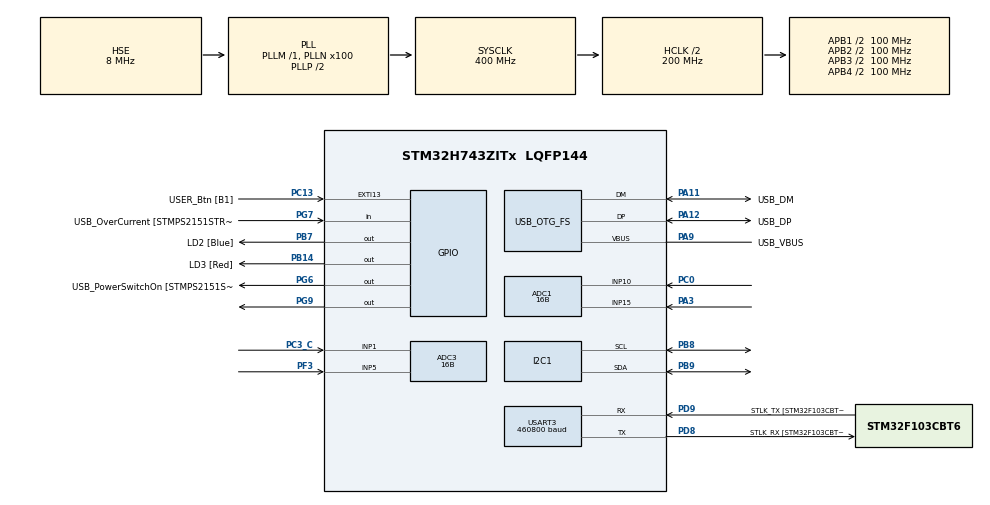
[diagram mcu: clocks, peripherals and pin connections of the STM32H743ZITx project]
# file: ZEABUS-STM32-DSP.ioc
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ADC1.BoostMode=DISABLE
ADC1.Channel-0\#ChannelRegularConversion=ADC_CHANNEL_15
ADC1.Channel-1\#ChannelRegularConversion=ADC_CHANNEL_10
ADC1.ClockPrescaler=ADC_CLOCK_ASYNC_DIV4
ADC1.ContinuousConvMode=DISABLE
ADC1.ConversionDataManagement=ADC_CONVERSIONDATA_DMA_CIRCULAR
ADC1.DMAContinuousRequests=ENABLE
ADC1.DiscontinuousConvMode=ENABLE
ADC1.EOCSelection=ADC_EOC_SEQ_CONV
ADC1.EnableAnalogWatchDog1=false
ADC1.EnableAnalogWatchDog2=false
ADC1.EnableAnalogWatchDog3=false
ADC1.EnableInjectedConversion=DISABLE
ADC1.EnableRegularConversion=ENABLE
ADC1.ExternalTrigConv=ADC_EXTERNALTRIG_T2_TRGO
ADC1.ExternalTrigConvEdge=ADC_EXTERNALTRIGCONVEDGE_RISING
ADC1.LeftBitShift=ADC_LEFTBITSHIFT_NONE
ADC1.LowPowerAutoWait=DISABLE
ADC1.NbrOfConversion=2
ADC1.NbrOfConversionFlag=1
ADC1.OffsetNumber-0\#ChannelRegularConversion=ADC_OFFSET_NONE
ADC1.OffsetNumber-1\#ChannelRegularConversion=ADC_OFFSET_NONE
ADC1.Overrun=ADC_OVR_DATA_PRESERVED
ADC1.OversamplingMode=DISABLE
ADC1.Rank-0\#ChannelRegularConversion=1
ADC1.Rank-1\#ChannelRegularConversion=2
ADC1.Resolution=ADC_RESOLUTION_16B
ADC1.SamplingTime-0\#ChannelRegularConversion=ADC_SAMPLETIME_16CYCLES_5
ADC1.SamplingTime-1\#ChannelRegularConversion=ADC_SAMPLETIME_16CYCLES_5
ADC1.ScanConvMode=ADC_SCAN_ENABLE
ADC1.master=1
ADC3.BoostMode=DISABLE
ADC3.Channel-0\#ChannelRegularConversion=ADC_CHANNEL_1
ADC3.Channel-1\#ChannelRegularConversion=ADC_CHANNEL_5
ADC3.ClockPrescaler=ADC_CLOCK_ASYNC_DIV4
ADC3.ContinuousConvMode=DISABLE
ADC3.ConversionDataManagement=ADC_CONVERSIONDATA_DMA_CIRCULAR
ADC3.DMAContinuousRequests=ENABLE
ADC3.DiscontinuousConvMode=ENABLE
ADC3.EOCSelection=ADC_EOC_SEQ_CONV
ADC3.EnableAnalogWatchDog1=false
ADC3.EnableAnalogWatchDog2=false
ADC3.EnableAnalogWatchDog3=false
ADC3.EnableInjectedConversion=DISABLE
ADC3.EnableRegularConversion=ENABLE
ADC3.ExternalTrigConv=ADC_EXTERNALTRIG_T2_TRGO
ADC3.ExternalTrigConvEdge=ADC_EXTERNALTRIGCONVEDGE_RISING
ADC3.LeftBitShift=ADC_LEFTBITSHIFT_NONE
ADC3.LowPowerAutoWait=DISABLE
ADC3.NbrOfConversion=2
ADC3.NbrOfConversionFlag=1
ADC3.NbrOfDiscConversion=1
ADC3.OffsetNumber-0\#ChannelRegularConversion=ADC_OFFSET_NONE
ADC3.OffsetNumber-1\#ChannelRegularConversion=ADC_OFFSET_NONE
ADC3.Overrun=ADC_OVR_DATA_PRESERVED
ADC3.OversamplingMode=DISABLE
ADC3.Rank-0\#ChannelRegularConversion=1
ADC3.Rank-1\#ChannelRegularConversion=2
ADC3.Resolution=ADC_RESOLUTION_16B
ADC3.SamplingTime-0\#ChannelRegularConversion=ADC_SAMPLETIME_16CYCLES_5
ADC3.SamplingTime-1\#ChannelRegularConversion=ADC_SAMPLETIME_16CYCLES_5
ADC3.ScanConvMode=ADC_SCAN_ENABLE
Dma.ADC1.1.Direction=DMA_PERIPH_TO_MEMORY
Dma.ADC1.1.EventEnable=DISABLE
Dma.ADC1.1.FIFOMode=DMA_FIFOMODE_DISABLE
Dma.ADC1.1.Instance=DMA1_Stream0
Dma.ADC1.1.MemDataAlignment=DMA_MDATAALIGN_WORD
Dma.ADC1.1.MemInc=DMA_MINC_ENABLE
Dma.ADC1.1.Mode=DMA_CIRCULAR
Dma.ADC1.1.PeriphDataAlignment=DMA_PDATAALIGN_WORD
Dma.ADC1.1.PeriphInc=DMA_PINC_DISABLE
Dma.ADC1.1.Polarity=HAL_DMAMUX_REQ_GEN_RISING
Dma.ADC1.1.Priority=DMA_PRIORITY_HIGH
Dma.ADC1.1.RequestNumber=1
Dma.ADC1.1.SyncEnable=DISABLE
Dma.ADC1.1.SyncPolarity=HAL_DMAMUX_SYNC_NO_EVENT
Dma.ADC1.1.SyncRequestNumber=1
Dma.ADC3.0.Direction=DMA_PERIPH_TO_MEMORY
Dma.ADC3.0.EventEnable=DISABLE
Dma.ADC3.0.FIFOMode=DMA_FIFOMODE_DISABLE
Dma.ADC3.0.Instance=DMA2_Stream0
Dma.ADC3.0.MemDataAlignment=DMA_MDATAALIGN_WORD
Dma.ADC3.0.MemInc=DMA_MINC_ENABLE
Dma.ADC3.0.Mode=DMA_CIRCULAR
Dma.ADC3.0.PeriphDataAlignment=DMA_PDATAALIGN_WORD
Dma.ADC3.0.PeriphInc=DMA_PINC_DISABLE
Dma.ADC3.0.Polarity=HAL_DMAMUX_REQ_GEN_RISING
Dma.ADC3.0.Priority=DMA_PRIORITY_HIGH
Dma.ADC3.0.RequestNumber=1
Dma.ADC3.0.SignalID=HAL_DMAMUX2_REQ_GEN_ADC3_IT
Dma.ADC3.0.SyncEnable=DISABLE
Dma.ADC3.0.SyncPolarity=HAL_DMAMUX_SYNC_NO_EVENT
Dma.ADC3.0.SyncRequestNumber=1
Dma.Request0=ADC3
Dma.Request1=ADC1
I2C1.Timing=0x10C0ECFF
Mcu.Family=STM32H7
Mcu.Name=STM32H743ZITx
Mcu.Package=LQFP144
Mdma.MDMA_Channel0.Request0=SW
Mdma.MDMA_Channel0.RequestsNb=1
Mdma.MDMA_Channel0.SW.0.BlockCount=0
Mdma.MDMA_Channel0.SW.0.BlockDataLength=0
Mdma.MDMA_Channel0.SW.0.BufferTransferLength=128
Mdma.MDMA_Channel0.SW.0.CircularMode=MDMA_LINEAR_LIST
Mdma.MDMA_Channel0.SW.0.DataAlignment=MDMA_DATAALIGN_PACKENABLE
Mdma.MDMA_Channel0.SW.0.DestBlockAddressOffset=0
Mdma.MDMA_Channel0.SW.0.DestBurst=MDMA_DEST_BURST_SINGLE
Mdma.MDMA_Channel0.SW.0.DestDataSize=MDMA_DEST_DATASIZE_WORD
Mdma.MDMA_Channel0.SW.0.DestinationInc=MDMA_DEST_INC_WORD
Mdma.MDMA_Channel0.SW.0.DstAddress=0
Mdma.MDMA_Channel0.SW.0.Endianness=MDMA_LITTLE_ENDIANNESS_PRESERVE
Mdma.MDMA_Channel0.SW.0.Instance=MDMA_Channel0
Mdma.MDMA_Channel0.SW.0.MaskAddress=0
Mdma.MDMA_Channel0.SW.0.MaskData=0
Mdma.MDMA_Channel0.SW.0.Priority=MDMA_PRIORITY_HIGH
Mdma.MDMA_Channel0.SW.0.Rank=First
Mdma.MDMA_Channel0.SW.0.SourceBlockAddressOffset=0
Mdma.MDMA_Channel0.SW.0.SourceBurst=MDMA_SOURCE_BURST_SINGLE
Mdma.MDMA_Channel0.SW.0.SourceDataSize=MDMA_SRC_DATASIZE_WORD
Mdma.MDMA_Channel0.SW.0.SourceInc=MDMA_SRC_INC_DOUBLEWORD
Mdma.MDMA_Channel0.SW.0.SrcAddress=0
Mdma.MDMA_Channel0.SW.0.TransferTriggerMode=MDMA_FULL_TRANSFER
Mdma.MDMA_Channel1.Request0=SW
Mdma.MDMA_Channel1.RequestsNb=1
Mdma.MDMA_Channel1.SW.0.BlockCount=0
Mdma.MDMA_Channel1.SW.0.BlockDataLength=0
Mdma.MDMA_Channel1.SW.0.BufferTransferLength=128
Mdma.MDMA_Channel1.SW.0.CircularMode=MDMA_LINEAR_LIST
Mdma.MDMA_Channel1.SW.0.DataAlignment=MDMA_DATAALIGN_PACKENABLE
Mdma.MDMA_Channel1.SW.0.DestBlockAddressOffset=0
Mdma.MDMA_Channel1.SW.0.DestBurst=MDMA_DEST_BURST_SINGLE
Mdma.MDMA_Channel1.SW.0.DestDataSize=MDMA_DEST_DATASIZE_WORD
Mdma.MDMA_Channel1.SW.0.DestinationInc=MDMA_DEST_INC_WORD
Mdma.MDMA_Channel1.SW.0.DstAddress=0
Mdma.MDMA_Channel1.SW.0.Endianness=MDMA_LITTLE_ENDIANNESS_PRESERVE
Mdma.MDMA_Channel1.SW.0.Instance=MDMA_Channel1
Mdma.MDMA_Channel1.SW.0.MaskAddress=0
Mdma.MDMA_Channel1.SW.0.MaskData=0
Mdma.MDMA_Channel1.SW.0.Priority=MDMA_PRIORITY_HIGH
Mdma.MDMA_Channel1.SW.0.Rank=First
Mdma.MDMA_Channel1.SW.0.SourceBlockAddressOffset=0
Mdma.MDMA_Channel1.SW.0.SourceBurst=MDMA_SOURCE_BURST_SINGLE
Mdma.MDMA_Channel1.SW.0.SourceDataSize=MDMA_SRC_DATASIZE_WORD
Mdma.MDMA_Channel1.SW.0.SourceInc=MDMA_SRC_INC_DOUBLEWORD
Mdma.MDMA_Channel1.SW.0.SrcAddress=0
Mdma.MDMA_Channel1.SW.0.TransferTriggerMode=MDMA_FULL_TRANSFER
Mdma.MDMA_Channel2.Request0=SW
Mdma.MDMA_Channel2.RequestsNb=1
Mdma.MDMA_Channel2.SW.0.BlockCount=0
Mdma.MDMA_Channel2.SW.0.BlockDataLength=0
Mdma.MDMA_Channel2.SW.0.BufferTransferLength=128
Mdma.MDMA_Channel2.SW.0.CircularMode=MDMA_LINEAR_LIST
Mdma.MDMA_Channel2.SW.0.DataAlignment=MDMA_DATAALIGN_PACKENABLE
Mdma.MDMA_Channel2.SW.0.DestBlockAddressOffset=0
Mdma.MDMA_Channel2.SW.0.DestBurst=MDMA_DEST_BURST_SINGLE
Mdma.MDMA_Channel2.SW.0.DestDataSize=MDMA_DEST_DATASIZE_WORD
Mdma.MDMA_Channel2.SW.0.DestinationInc=MDMA_DEST_INC_WORD
Mdma.MDMA_Channel2.SW.0.DstAddress=0
Mdma.MDMA_Channel2.SW.0.Endianness=MDMA_LITTLE_ENDIANNESS_PRESERVE
Mdma.MDMA_Channel2.SW.0.Instance=MDMA_Channel2
Mdma.MDMA_Channel2.SW.0.MaskAddress=0
Mdma.MDMA_Channel2.SW.0.MaskData=0
Mdma.MDMA_Channel2.SW.0.Priority=MDMA_PRIORITY_HIGH
Mdma.MDMA_Channel2.SW.0.Rank=First
Mdma.MDMA_Channel2.SW.0.SourceBlockAddressOffset=0
Mdma.MDMA_Channel2.SW.0.SourceBurst=MDMA_SOURCE_BURST_SINGLE
Mdma.MDMA_Channel2.SW.0.SourceDataSize=MDMA_SRC_DATASIZE_WORD
Mdma.MDMA_Channel2.SW.0.SourceInc=MDMA_SRC_INC_DOUBLEWORD
Mdma.MDMA_Channel2.SW.0.SrcAddress=0
Mdma.MDMA_Channel2.SW.0.TransferTriggerMode=MDMA_FULL_TRANSFER
Mdma.MDMA_Channel3.Request0=SW
Mdma.MDMA_Channel3.RequestsNb=1
Mdma.MDMA_Channel3.SW.0.BlockCount=0
Mdma.MDMA_Channel3.SW.0.BlockDataLength=0
Mdma.MDMA_Channel3.SW.0.BufferTransferLength=128
Mdma.MDMA_Channel3.SW.0.CircularMode=MDMA_LINEAR_LIST
Mdma.MDMA_Channel3.SW.0.DataAlignment=MDMA_DATAALIGN_PACKENABLE
Mdma.MDMA_Channel3.SW.0.DestBlockAddressOffset=0
Mdma.MDMA_Channel3.SW.0.DestBurst=MDMA_DEST_BURST_SINGLE
Mdma.MDMA_Channel3.SW.0.DestDataSize=MDMA_DEST_DATASIZE_WORD
Mdma.MDMA_Channel3.SW.0.DestinationInc=MDMA_DEST_INC_WORD
Mdma.MDMA_Channel3.SW.0.DstAddress=0
Mdma.MDMA_Channel3.SW.0.Endianness=MDMA_LITTLE_ENDIANNESS_PRESERVE
Mdma.MDMA_Channel3.SW.0.Instance=MDMA_Channel3
Mdma.MDMA_Channel3.SW.0.MaskAddress=0
Mdma.MDMA_Channel3.SW.0.MaskData=0
Mdma.MDMA_Channel3.SW.0.Priority=MDMA_PRIORITY_HIGH
Mdma.MDMA_Channel3.SW.0.Rank=First
Mdma.MDMA_Channel3.SW.0.SourceBlockAddressOffset=0
Mdma.MDMA_Channel3.SW.0.SourceBurst=MDMA_SOURCE_BURST_SINGLE
Mdma.MDMA_Channel3.SW.0.SourceDataSize=MDMA_SRC_DATASIZE_WORD
Mdma.MDMA_Channel3.SW.0.SourceInc=MDMA_SRC_INC_DOUBLEWORD
Mdma.MDMA_Channel3.SW.0.SrcAddress=0
Mdma.MDMA_Channel3.SW.0.TransferTriggerMode=MDMA_FULL_TRANSFER
Mdma.RequestSet0=MDMA_Channel0
Mdma.RequestSet1=MDMA_Channel1
Mdma.RequestSet2=MDMA_Channel2
Mdma.RequestSet3=MDMA_Channel3
Mdma.RequestSetsNb=4
NVIC.ADC3_IRQn=true\:0\:0\:false\:false\:true\:true
NVIC.ADC_IRQn=true\:0\:0\:false\:false\:true\:true
NVIC.DMA1_Stream0_IRQn=true\:0\:0\:false\:false\:true\:false
NVIC.DMA2_Stream0_IRQn=true\:0\:0\:false\:false\:true\:false
NVIC.OTG_FS_IRQn=true\:0\:0\:false\:false\:true\:false
NVIC.PriorityGroup=NVIC_PRIORITYGROUP_4
NVIC.USART3_IRQn=true\:0\:0\:false\:false\:true\:true
PA11.GPIO_Label=USB_DM
PA11.Mode=Device_Only
PA11.Signal=USB_OTG_FS_DM
PA12.GPIO_Label=USB_DP
PA12.Mode=Device_Only
PA12.Signal=USB_OTG_FS_DP
PA13.GPIO_Label=TMS
PA13.Mode=Serial_Wire
PA13.Signal=SYS_JTMS-SWDIO
PA14.GPIO_Label=TCK
PA14.Mode=Serial_Wire
PA14.Signal=SYS_JTCK-SWCLK
PA3.Signal=ADCx_INP15
PA9.GPIO_Label=USB_VBUS
PA9.Mode=Activate_VBUS
PA9.Signal=USB_OTG_FS_VBUS
PB14.GPIO_Label=LD3 [Red]
PB14.Signal=GPIO_Output
PB7.GPIO_Label=LD2 [Blue]
PB7.Signal=GPIO_Output
PB8.Mode=I2C
PB8.Signal=I2C1_SCL
PB9.Mode=I2C
PB9.Signal=I2C1_SDA
PC0.Signal=ADCx_INP10
PC13.GPIO_Label=USER_Btn [B1]
PC13.Signal=GPXTI13
PC14-OSC32_IN.Mode=LSE-External-Oscillator
PC14-OSC32_IN.Signal=RCC_OSC32_IN
PC15-OSC32_OUT.Mode=LSE-External-Oscillator
PC15-OSC32_OUT.Signal=RCC_OSC32_OUT
PC3_C.Mode=IN1-Single-Ended
PC3_C.Signal=ADC3_INP1
PD8.GPIO_Label=STLK_RX [STM32F103CBT6_PA3]
PD8.Mode=Asynchronous
PD8.Signal=USART3_TX
PD9.GPIO_Label=STLK_TX [STM32F103CBT6_PA2]
PD9.Mode=Asynchronous
PD9.Signal=USART3_RX
PF3.Mode=IN5-Single-Ended
PF3.Signal=ADC3_INP5
PG6.GPIO_Label=USB_PowerSwitchOn [STMPS2151STR_EN]
PG6.Signal=GPIO_Output
PG7.GPIO_Label=USB_OverCurrent [STMPS2151STR_FAULT]
PG7.Signal=GPIO_Input
PG9.GPIO_Speed=GPIO_SPEED_FREQ_VERY_HIGH
PG9.Signal=GPIO_Output
PH0-OSC_IN.GPIO_Label=MCO
PH0-OSC_IN.Mode=HSE-External-Clock-Source
PH0-OSC_IN.Signal=RCC_OSC_IN
PH1-OSC_OUT.Mode=HSE-External-Clock-Source
PH1-OSC_OUT.Signal=RCC_OSC_OUT
ProjectManager.HeapSize=0x200
ProjectManager.StackSize=0x400
ProjectManager.TargetToolchain=SW4STM32
RCC.48MHZClocksFreq_Value=24000000
RCC.ADCCLockSelection=RCC_ADCCLKSOURCE_CLKP
RCC.ADCFreq_Value=64000000
RCC.AHBFreq_Value=216000000
RCC.APB1CLKDivider=RCC_HCLK_DIV4
RCC.APB1Freq_Value=100000000
RCC.APB1TimFreq_Value=108000000
RCC.APB2CLKDivider=RCC_HCLK_DIV2
RCC.APB2Freq_Value=100000000
RCC.APB2TimFreq_Value=216000000
RCC.APB3Freq_Value=100000000
RCC.APB4Freq_Value=100000000
RCC.CortexFreq_Value=400000000
RCC.D1PPRE=RCC_APB3_DIV2
RCC.D2PPRE1=RCC_APB1_DIV2
RCC.D2PPRE2=RCC_APB2_DIV2
RCC.D3PPRE=RCC_APB4_DIV2
RCC.DIVM1=1
RCC.DIVN1=100
RCC.DIVQ1=16
RCC.HCLKFreq_Value=200000000
RCC.HPRE=RCC_HCLK_DIV2
RCC.HSE_VALUE=8000000
RCC.HSI_VALUE=64000000
RCC.PLLM=25
RCC.PLLMUL=RCC_PLL_MUL9
RCC.PLLN=432
RCC.PLLQ=9
RCC.PLLSourceVirtual=RCC_PLLSOURCE_HSE
RCC.PRESCALERUSB=RCC_USBCLKSOURCE_PLL_DIV1_5
RCC.SYSCLKFreq_VALUE=400000000
RCC.SYSCLKSource=RCC_SYSCLKSOURCE_PLLCLK
RCC.SYSCLKSourceVirtual=RCC_SYSCLKSOURCE_PLLCLK
RCC.USBCLockSelection=RCC_USBCLKSOURCE_HSI48
RCC.USBFreq_Value=48000000
RCC.VCOOutputFreq_Value=432000000
SH.ADCx_INP10.0=ADC1_INP10,IN10-Single-Ended
SH.ADCx_INP15.0=ADC1_INP15,IN15-Single-Ended
TIM2.ClockDivision=TIM_CLOCKDIVISION_DIV1
TIM2.Period=521
TIM2.TIM_MasterOutputTrigger=TIM_TRGO_UPDATE
USART3.BaudRate=460800
USART3.VirtualMode-Asynchronous=VM_ASYNC
USART3.WordLength=WORDLENGTH_8B
USB_DEVICE.CLASS_NAME_FS=CDC
USB_DEVICE.VirtualMode-CDC_FS=Cdc
USB_DEVICE.VirtualModeFS=Cdc_FS
USB_OTG_FS.VirtualMode=Device_Only
VP_TIM2_VS_ClockSourceINT.Mode=Internal
VP_USB_DEVICE_VS_USB_DEVICE_CDC_FS.Mode=CDC_FS
board=NUCLEO-H743ZI

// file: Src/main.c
/**
  ******************************************************************************
  * @file           : main.c
  * @brief          : Main program body
  ******************************************************************************
  * This notice applies to any and all portions of this file
  * that are not between comment pairs USER CODE BEGIN and
  * USER CODE END. Other portions of this file, whether
  * inserted by the user or by software development tools
  * are owned by their respective copyright owners.
  *
  * Copyright (c) 2018 STMicroelectronics International N.V.
  * All rights reserved.
  *
  * Redistribution and use in source and binary forms, with or without
  * modification, are permitted, provided that the following conditions are met:
  *
  * 1. Redistribution of source code must retain the above copyright notice,
  *    this list of conditions and the following disclaimer.
  * 2. Redistributions in binary form must reproduce the above copyright notice,
  *    this list of conditions and the following disclaimer in the documentation
  *    and/or other materials provided with the distribution.
  * 3. Neither the name of STMicroelectronics nor the names of other
  *    contributors to this software may be used to endorse or promote products
  *    derived from this software without specific written permission.
  * 4. This software, including modifications and/or derivative works of this
  *    software, must execute solely and exclusively on microcontroller or
  *    microprocessor devices manufactured by or for STMicroelectronics.
  * 5. Redistribution and use of this software other than as permitted under
  *    this license is void and will automatically terminate your rights under
  *    this license.
  *
  * THIS SOFTWARE IS PROVIDED BY STMICROELECTRONICS AND CONTRIBUTORS "AS IS"
  * AND ANY EXPRESS, IMPLIED OR STATUTORY WARRANTIES, INCLUDING, BUT NOT
  * LIMITED TO, THE IMPLIED WARRANTIES OF MERCHANTABILITY, FITNESS FOR A
  * PARTICULAR PURPOSE AND NON-INFRINGEMENT OF THIRD PARTY INTELLECTUAL PROPERTY
  * RIGHTS ARE DISCLAIMED TO THE FULLEST EXTENT PERMITTED BY LAW. IN NO EVENT
  * SHALL STMICROELECTRONICS OR CONTRIBUTORS BE LIABLE FOR ANY DIRECT, INDIRECT,
  * INCIDENTAL, SPECIAL, EXEMPLARY, OR CONSEQUENTIAL DAMAGES (INCLUDING, BUT NOT
  * LIMITED TO, PROCUREMENT OF SUBSTITUTE GOODS OR SERVICES; LOSS OF USE, DATA,
  * OR PROFITS; OR BUSINESS INTERRUPTION) HOWEVER CAUSED AND ON ANY THEORY OF
  * LIABILITY, WHETHER IN CONTRACT, STRICT LIABILITY, OR TORT (INCLUDING
  * NEGLIGENCE OR OTHERWISE) ARISING IN ANY WAY OUT OF THE USE OF THIS SOFTWARE,
  * EVEN IF ADVISED OF THE POSSIBILITY OF SUCH DAMAGE.
  *
  ******************************************************************************
  */
#include "main.h"
#include "stm32h7xx_hal.h"
#include "adc.h"
#include "dma.h"
#include "i2c.h"
#include "mdma.h"
#include "tim.h"
#include "usart.h"
#include "usb_device.h"
#include "gpio.h"

/* USER CODE BEGIN Includes */
#include <stdlib.h>
#include "common.h"
#include "abs_threshold.h"
#include "time.h"

/* USER CODE END Includes */

/* USER CODE BEGIN PV */
/* Private variables ---------------------------------------------------------*/
__SECTION_RAM_D2 uint32_t g_adc1_2_buffer[RAW_DATA_BUFFER_SIZE];
__SECTION_RAM_D2 uint32_t g_adc3_4_buffer[RAW_DATA_BUFFER_SIZE];
__SECTION_AXIRAM uint32_t g_adc_1_h[BUFFER_SIZE];
__SECTION_AXIRAM uint32_t g_adc_2_h[BUFFER_SIZE];
__SECTION_AXIRAM uint32_t g_adc_3_h[BUFFER_SIZE];
__SECTION_AXIRAM uint32_t g_adc_4_h[BUFFER_SIZE];
float32_t g_adc_1_f[BUFFER_SIZE];
float32_t g_adc_2_f[BUFFER_SIZE];
float32_t g_adc_3_f[BUFFER_SIZE];
float32_t g_adc_4_f[BUFFER_SIZE];
float32_t g_filtered_1_f[BUFFER_SIZE];
float32_t g_filtered_2_f[BUFFER_SIZE];
float32_t g_filtered_3_f[BUFFER_SIZE];
float32_t g_filtered_4_f[BUFFER_SIZE];
float32_t g_fft_f32[FFT_SIZE * 2];
float32_t g_fft_f32_out[FFT_SIZE];
int32_t g_adc_offset[4];
uint32_t g_raw_data_index;
uint32_t g_pulse_detect_index;
uint8_t uart_rx_buffer[UART_RX_BUFFER_SIZE];
int g_uart_ready;

// Frequency range of each FFT output datum (i.e. FFT bin size)
const float32_t g_fft_bin_size = SAMPLE_RATE / (float32_t)FFT_SIZE;
const float32_t g_nyquist_rate = SAMPLE_RATE / 2;
const uint16_t g_fir_size = 15; // FIR filter order - 1

// FFT bin index that contains the frequency we are looking for
uint32_t g_desired_fft_bin;
uint32_t g_lowest_considered_fft_bin;
uint32_t g_highest_considered_fft_bin;

// USB Data
InputParam input;
OutputParam output;

// Marked out as it is deprecated
arm_cfft_radix4_instance_f32  FFT_F32_struct;

/* USER CODE END PV */

void SystemClock_Config(void);

/* USER CODE BEGIN PFP */
/* Private function prototypes -----------------------------------------------*/

int ADC_Start(){
	if(HAL_ADC_Start_DMA(&hadc1,(uint32_t*)g_adc1_2_buffer,RAW_DATA_BUFFER_SIZE) != HAL_OK){
		  HAL_GPIO_WritePin(GPIOB,GPIO_PIN_14,GPIO_PIN_RESET);
		  // Reset LD3 (RED) if start fail
		  return 0;
	  }

	  if(HAL_ADC_Start_DMA(&hadc3,(uint32_t*)g_adc3_4_buffer,RAW_DATA_BUFFER_SIZE) != HAL_OK){
		  HAL_GPIO_WritePin(GPIOB,GPIO_PIN_14,GPIO_PIN_RESET);
		  // Reset LD3 (RED) if start fail
		  return 0;
	  }

	  return 1;
}

int TIMER_Start(){
	if(HAL_TIM_Base_Start(&htim2) != HAL_OK){
		  HAL_GPIO_WritePin(GPIOB,GPIO_PIN_14,GPIO_PIN_RESET);
		  // Reset LD3 (RED) if start fail
		  return 0;
	 }

	return 1;
}

int Set_LNA_Gain(){

	uint16_t i2c_dev_addr = 0x5C; // MAX 5387 Address
	uint8_t i2c_val[2];
	i2c_val[0] = 0x13; // Set both CH
	i2c_val[1] = (input.LNA_Gain * 255);  // VGain = 1.1 * ( g_i2c_val / 255 )

	// Set gain for channel 1 and 2
	if(HAL_I2C_Master_Transmit(&hi2c1, i2c_dev_addr, i2c_val,2,100) != HAL_OK){
		HAL_GPIO_WritePin(GPIOB,GPIO_PIN_14,GPIO_PIN_RESET);
		// Reset LD3 (RED) if can not set gain value
		return 0;
	}

	// Set gain for channel 3 and 4
	if(HAL_I2C_Master_Transmit(&hi2c1, (i2c_dev_addr + 2), i2c_val,2,100) != HAL_OK){
		HAL_GPIO_WritePin(GPIOB,GPIO_PIN_14,GPIO_PIN_RESET);
		// Reset LD3 (RED) if can not set gain value
		return 0;
	}

	return 1;

}

uint32_t Get_Max_FFT_Bin( float32_t* sig )
{
	float32_t maxVal;
	uint32_t freq_index;
	uint32_t i, k;

	// Translate a part of raw signal data into complex numbers with 0 imaginary magnitude
	k = PULSE_HEADER_SIZE - 1;
	for( i = 0  ; i < FFT_SIZE * 2 ; i += 2 )
	{
		g_fft_f32[ i ] = 0;		// Initialize real part with 0
		g_fft_f32[ i + 1 ] = 0;	// Imaginary part is always 0

		if(k < PULSE_FRAME_SIZE)
		{
			g_fft_f32[ i ] = sig[ k ];
		}
		k++;
	}

	/**** These lines are replaced with "arm_cfft_f32" as they are deprecated
	****/
	// Perform complex FFT over "g_fft_f32". The result is stored back into "g_fft_f32"
	//arm_cfft_radix4_init_f32( &FFT_F32_struct, FFT_SIZE, 0, 1 );
	//arm_cfft_radix4_f32( &FFT_F32_struct, g_fft_f32 );

	// New function to replace 2 functions above
	/* Process the data through the CFFT/CIFFT module with 1024 points */
	arm_cfft_f32( &arm_cfft_sR_f32_len1024, g_fft_f32, 0, 1 );

	/* Process the data through the Complex Magnitude Module for
  		calculating the magnitude at each bin */
	arm_cmplx_mag_f32( g_fft_f32, g_fft_f32_out, FFT_SIZE );

	/* Mask the FFT to only the considered frequency */
	for( i = 0; i < g_lowest_considered_fft_bin; i++ )
		g_fft_f32_out[i] = 0;
	for( i = g_highest_considered_fft_bin; i < FFT_SIZE; i++ )
		g_fft_f32_out[i] = 0;

	/* Looking for the bin that has highest magnitude */
	arm_max_f32( g_fft_f32_out, FFT_SIZE, &maxVal, &freq_index );

	return( freq_index );
}

uint32_t Bin2Freq( uint32_t bin )
{
	float32_t freq;

	freq = (float32_t)(bin) * g_fft_bin_size / 1000.0f; // Frequency in KHz

	float32_t dec;
	float32_t dot = modff(freq, &dec);

	// Rounding the frequency to the nearest 500Hz step (raw frequency is in KHz)
	if( dot >= 0.75f )
	{
		dec = dec + 1.0f;
	}
	else
	{
		if( dot >= 0.25f )
			dec = dec + 0.5f;
	}

	// Convert frequency back to Hz
	freq = dec * 1000.0f;

	return ( (uint32_t)freq );	// Convert the final result to integer
}

void Wait_DMA(DMA_HandleTypeDef *hdma, int eot,int next_round){

	if(next_round == 0){
		while((RAW_DATA_BUFFER_SIZE - (uint16_t)(((DMA_Stream_TypeDef   *)hdma->Instance)->NDTR)) <= eot);
	} else if(next_round == 1) {
		while((uint16_t)(((DMA_Stream_TypeDef   *)hdma->Instance)->NDTR) == 0);
		while((RAW_DATA_BUFFER_SIZE - (uint16_t)(((DMA_Stream_TypeDef   *)hdma->Instance)->NDTR)) <= eot);
	}

}

void Get_Pulse_Frame(){

	 int start_transfer_index = 0;
	 int end_transfer_index = 0;
	 int size_remain = 0;					//size of data that remain to transfer
	 int size_forward_transfer = 0;			//size of data can forward transfer before last address of raw data buffer
	 int next_round = 0;
	 int32_t temp_offset[4] = { 0, 0, 0, 0 };

	 // Case 1 ; some header is at the end of buffer
	 if ((g_pulse_detect_index * 2)  < PULSE_HEADER_SIZE - 1) {
		 size_forward_transfer = PULSE_HEADER_SIZE - (g_pulse_detect_index / 2);
		 start_transfer_index = RAW_DATA_BUFFER_SIZE - (size_forward_transfer * 2); 	// start transfer at bottom of raw data
	 }
	 // Case 2 ; some body is at the next start of buffer
	 else if (((RAW_DATA_BUFFER_SIZE) - (g_pulse_detect_index) - 1) < ((int)PULSE_BODY_SIZE * 2)) {
		 size_forward_transfer = PULSE_HEADER_SIZE + (((int)(RAW_DATA_BUFFER_SIZE) - g_pulse_detect_index ) / 2 ) - 1;
		 start_transfer_index = g_pulse_detect_index - (int)((PULSE_HEADER_SIZE) * 2);
	 }
	 // Case 3 ; all frame is in this buffer length
	 else {
		 size_forward_transfer = (int) PULSE_FRAME_SIZE;
		 start_transfer_index = g_pulse_detect_index - (int)(PULSE_HEADER_SIZE * 2);
	 }

	 size_remain = PULSE_FRAME_SIZE - size_forward_transfer;

	 if (size_remain == 0) {
		 end_transfer_index = start_transfer_index + (int)(PULSE_FRAME_SIZE * 2);
	 }
	 else {
		 end_transfer_index = (size_remain * 2);
	 }

	 Wait_DMA(&hdma_adc1,end_transfer_index,next_round);  		 // wait until frame is fill up

	 HAL_MDMA_Start(&hmdma_mdma_channel0_sw_0,(uint32_t)&g_adc1_2_buffer[start_transfer_index],(uint32_t)&g_adc_1_h,4,size_forward_transfer);
	 HAL_MDMA_Start(&hmdma_mdma_channel1_sw_0,(uint32_t)&g_adc1_2_buffer[start_transfer_index + 1],(uint32_t)&g_adc_2_h,4,size_forward_transfer);
	 HAL_MDMA_Start(&hmdma_mdma_channel2_sw_0,(uint32_t)&g_adc3_4_buffer[start_transfer_index],(uint32_t)&g_adc_3_h,4,size_forward_transfer);
	 HAL_MDMA_Start(&hmdma_mdma_channel3_sw_0,(uint32_t)&g_adc3_4_buffer[start_transfer_index + 1],(uint32_t)&g_adc_4_h,4,size_forward_transfer);

	 HAL_MDMA_PollForTransfer(&hmdma_mdma_channel0_sw_0,HAL_MDMA_FULL_TRANSFER,1000);
	 HAL_MDMA_PollForTransfer(&hmdma_mdma_channel1_sw_0,HAL_MDMA_FULL_TRANSFER,1000);
	 HAL_MDMA_PollForTransfer(&hmdma_mdma_channel2_sw_0,HAL_MDMA_FULL_TRANSFER,1000);
	 HAL_MDMA_PollForTransfer(&hmdma_mdma_channel3_sw_0,HAL_MDMA_FULL_TRANSFER,1000);

	 HAL_MDMA_Abort(&hmdma_mdma_channel0_sw_0);
	 HAL_MDMA_Abort(&hmdma_mdma_channel1_sw_0);
	 HAL_MDMA_Abort(&hmdma_mdma_channel2_sw_0);
	 HAL_MDMA_Abort(&hmdma_mdma_channel3_sw_0);

	 if(size_remain > 0){

		 HAL_MDMA_Start(&hmdma_mdma_channel0_sw_0,(uint32_t)&g_adc1_2_buffer,(uint32_t)&g_adc_1_h[size_forward_transfer],4,size_forward_transfer);
		 HAL_MDMA_Start(&hmdma_mdma_channel1_sw_0,(uint32_t)&g_adc1_2_buffer[1],(uint32_t)&g_adc_2_h[size_forward_transfer],4,size_forward_transfer);
		 HAL_MDMA_Start(&hmdma_mdma_channel2_sw_0,(uint32_t)&g_adc3_4_buffer,(uint32_t)&g_adc_3_h[size_forward_transfer],4,size_forward_transfer);
		 HAL_MDMA_Start(&hmdma_mdma_channel3_sw_0,(uint32_t)&g_adc3_4_buffer[1],(uint32_t)&g_adc_4_h[size_forward_transfer],4,size_forward_transfer);

		 HAL_MDMA_PollForTransfer(&hmdma_mdma_channel0_sw_0,HAL_MDMA_FULL_TRANSFER,1000);
		 HAL_MDMA_PollForTransfer(&hmdma_mdma_channel1_sw_0,HAL_MDMA_FULL_TRANSFER,1000);
		 HAL_MDMA_PollForTransfer(&hmdma_mdma_channel2_sw_0,HAL_MDMA_FULL_TRANSFER,1000);
		 HAL_MDMA_PollForTransfer(&hmdma_mdma_channel3_sw_0,HAL_MDMA_FULL_TRANSFER,1000);

	 	 HAL_MDMA_Abort(&hmdma_mdma_channel0_sw_0);
		 HAL_MDMA_Abort(&hmdma_mdma_channel1_sw_0);
		 HAL_MDMA_Abort(&hmdma_mdma_channel2_sw_0);
		 HAL_MDMA_Abort(&hmdma_mdma_channel3_sw_0);
	 }

	 // Raw ADC data is 16-bit unsigned integer value (0 - 65535 representing 0V - 3.3V)
	 // The following conversion loop convert each datum to floating point format ranging from 0 - 1.0
	 for(int i = 0 ; i < BUFFER_SIZE ; i++) {
		 temp_offset[0] += g_adc_1_h[i];
		 temp_offset[1] += g_adc_2_h[i];
		 temp_offset[2] += g_adc_3_h[i];
		 temp_offset[3] += g_adc_4_h[i];
		/* g_adc_1_f[i] = ADC_NORMALIZE( g_adc_1_h[i], g_adc_offset[0] );
		 g_adc_2_f[i] = ADC_NORMALIZE( g_adc_2_h[i], g_adc_offset[1] );
		 g_adc_3_f[i] = ADC_NORMALIZE( g_adc_3_h[i], g_adc_offset[2] );
		 g_adc_4_f[i] = ADC_NORMALIZE( g_adc_4_h[i], g_adc_offset[3] );
		 */
		 g_adc_1_f[i] = (float32_t)( g_adc_1_h[i] ) / 65535.0f;
		 g_adc_2_f[i] = (float32_t)( g_adc_2_h[i] ) / 65535.0f;
		 g_adc_3_f[i] = (float32_t)( g_adc_3_h[i] ) / 65535.0f;
		 g_adc_4_f[i] = (float32_t)( g_adc_4_h[i] ) / 65535.0f;
	 }

	 // Weighted exponential average of the DC offsets
	 g_adc_offset[0] = (g_adc_offset[0] / 2) + (temp_offset[0] / (BUFFER_SIZE * 2) );
	 g_adc_offset[1] = (g_adc_offset[1] / 2) + (temp_offset[1] / (BUFFER_SIZE * 2) );
	 g_adc_offset[2] = (g_adc_offset[2] / 2) + (temp_offset[2] / (BUFFER_SIZE * 2) );
	 g_adc_offset[3] = (g_adc_offset[3] / 2) + (temp_offset[3] / (BUFFER_SIZE * 2) );
 }

float2bytes f2b;

int UART_Sent(){

	uint8_t uart_tx_buffer[UART_TX_BUFFER_SIZE];
	uint322bytes u32t2b;
	float2bytes f2b;
	int k;

	// Sync
	uart_tx_buffer[0] = 0xFF;
	uart_tx_buffer[1] = 0xFF;

	// Header
	uart_tx_buffer[2] = (char) output.seq_num;
	uart_tx_buffer[3] = (char) output.seq_num >> 8;

	u32t2b.u32t = output.Detect_Frequency;

	uart_tx_buffer[4] = u32t2b.b[0];
	uart_tx_buffer[5] = u32t2b.b[1];
	uart_tx_buffer[6] = u32t2b.b[2];
	uart_tx_buffer[7] = u32t2b.b[3];

	u32t2b.u32t = output.time_between_pulse;

	uart_tx_buffer[8] = u32t2b.b[0];
	uart_tx_buffer[9] = u32t2b.b[1];
	uart_tx_buffer[10] = u32t2b.b[2];
	uart_tx_buffer[11] = u32t2b.b[3];

	u32t2b.u32t = output.process_time;

	uart_tx_buffer[12] = u32t2b.b[0];
	uart_tx_buffer[13] = u32t2b.b[1];
	uart_tx_buffer[14] = u32t2b.b[2];
	uart_tx_buffer[15] = u32t2b.b[3];

	// ==== Data ====
	uart_tx_buffer[16] = 0x11;
	uart_tx_buffer[17] = 0x11;

	k = 18;

	for(int i = 0;i < BUFFER_SIZE ;i++){
		f2b.f = g_adc_1_f[i];
		for(int d = 0;d < 4;d++){
			uart_tx_buffer[k + d] = f2b.b[d];
		}
		k += 4;
	}

	for(int i = 0;i < BUFFER_SIZE ;i++){
			f2b.f = g_adc_2_f[i];
			for(int d = 0;d < 4;d++){
				uart_tx_buffer[k + d] = f2b.b[d];
			}
			k += 4;
		}

	uart_tx_buffer[k] = 0x22;
	k++;
	uart_tx_buffer[k] = 0x22;
	k++;

	for(int i = 0;i < BUFFER_SIZE ;i++){
			f2b.f = g_adc_3_f[i];
			for(int d = 0;d < 4;d++){
				uart_tx_buffer[k + d] = f2b.b[d];
			}
			k += 4;
		}

	for(int i = 0;i < BUFFER_SIZE ;i++){
			f2b.f = g_adc_4_f[i];
			for(int d = 0;d < 4;d++){
				uart_tx_buffer[k + d] = f2b.b[d];
			}
			k += 4;
		}

	uart_tx_buffer[k] = 0x33;
	k++;
	uart_tx_buffer[k] = 0x33;
	k++;

	if(k != UART_TX_BUFFER_SIZE){
		return 0;
	}

//	while(!g_uart_ready);

	g_uart_ready = 0;

	HAL_Delay(10);
	if(HAL_UART_Transmit(&huart3,uart_tx_buffer,UART_TX_BUFFER_SIZE,10000) != HAL_OK){
		return 0;
	}

	LED_BLUE_OFF();

	output.seq_num++;

	return 1;
}

#define FILTER_ORDER	9	// Must be odd number
#define FILTER_BANDWIDTH	2000	// Cut-off offset frequency for the filter
static float32_t g_fir_coefficients[FILTER_ORDER];

/*
algorithm FIR_bandpass filter

Input:
f1, the lowest frequency to be included, in Hz
f2, the highest frequency to be included, in Hz
f_samp, sampling frequency of the audio signal to be filtered, in Hz
N, the order of the filter; assume N is odd

Output:
h, a bandpass FIR filter in the form of an N-element array */
void gen_fir_bandpass( )
{
	float32_t f1_c, f2_c, w1_c, w2_c;
	uint32_t middle;

	//Normalize f_c and ω _c so that pi is equal to the Nyquist angular frequency
	f1_c = ( input.Frequency - FILTER_BANDWIDTH ) / SAMPLE_RATE;
	f2_c = ( input.Frequency + FILTER_BANDWIDTH ) / SAMPLE_RATE;

	// Calculate omega (w) = 2*pi*f
	w1_c = 2 * M_PI * f1_c;
	w2_c = 2 * M_PI * f2_c;

	middle = FILTER_ORDER / 2;    /*Integer division, dropping remainder*/

	for( int i = -middle; i < middle; i++ )
	{
		if ( i == 0 ) // This condition prevents divided-by-zero error
		{
			g_fir_coefficients[ middle ] = 2 * ( f2_c - f1_c );
		}
		else
		{
			g_fir_coefficients[ i + middle ] = ( sin( w2_c * i ) / (M_PI * i ) ) - ( sin( w1_c * i ) / ( M_PI * i ) );
		}
	}
 }

// Apply FIR filter to all stream
void Bandpass_filter()
{
	float32_t fir_state[BUFFER_SIZE + FILTER_ORDER + 1];
	arm_fir_instance_f32 S;

	arm_fir_init_f32( &S, FILTER_ORDER, g_fir_coefficients, fir_state, BUFFER_SIZE );
	arm_fir_f32( &S, g_adc_1_f, g_filtered_1_f, BUFFER_SIZE );
	arm_fir_init_f32( &S, FILTER_ORDER, g_fir_coefficients, fir_state, BUFFER_SIZE );
	arm_fir_f32( &S, g_adc_2_f, g_filtered_2_f, BUFFER_SIZE );
	arm_fir_init_f32( &S, FILTER_ORDER, g_fir_coefficients, fir_state, BUFFER_SIZE );
	arm_fir_f32( &S, g_adc_3_f, g_filtered_3_f, BUFFER_SIZE );
	arm_fir_init_f32( &S, FILTER_ORDER, g_fir_coefficients, fir_state, BUFFER_SIZE );
	arm_fir_f32( &S, g_adc_4_f, g_filtered_4_f, BUFFER_SIZE );
	arm_copy_f32( g_filtered_1_f, g_adc_1_f, BUFFER_SIZE );
	arm_copy_f32( g_filtered_2_f, g_adc_2_f, BUFFER_SIZE );
	arm_copy_f32( g_filtered_3_f, g_adc_3_f, BUFFER_SIZE );
	arm_copy_f32( g_filtered_4_f, g_adc_4_f, BUFFER_SIZE );
}
/* USER CODE END PFP */

int main(void)
{
  /* USER CODE BEGIN 1 */
	uint32_t frame_bin;
	uint32_t temp_time_stamp;
	uint32_t pulse_time_stamp;
	uint32_t process_time_stamp;

  /* USER CODE END 1 */

  /* MCU Configuration----------------------------------------------------------*/

  /* Reset of all peripherals, Initializes the Flash interface and the Systick. */
  HAL_Init();

  /* Configure the system clock */
  SystemClock_Config();

  /* Initialize all configured peripherals */
  MX_GPIO_Init();
  MX_DMA_Init();
  MX_MDMA_Init();
  MX_ADC1_Init();
  MX_ADC3_Init();
  MX_I2C1_Init();
  MX_TIM2_Init();
  MX_USART3_UART_Init();
  MX_USB_DEVICE_Init();
  /* USER CODE BEGIN 2 */

  LED_BLUE_ON();
  LED_RED_ON();

  input.MinFrequency = 20000;
  input.MaxFrequency = 45000;
  input.Frequency = 37500;
  //input.FrontThreshold = 0.3;
  //input.PowerThreshold = 0.02;
  input.FrontThreshold = 0.3;
  input.PowerThreshold = 5000;
  input.DelayObserve = 2000;
  input.LNA_Gain = 0.1;

  g_adc_offset[0] = INITIAL_ADC_OFFSET;
  g_adc_offset[1] = INITIAL_ADC_OFFSET;
  g_adc_offset[2] = INITIAL_ADC_OFFSET;
  g_adc_offset[3] = INITIAL_ADC_OFFSET;

  gen_fir_bandpass();

  TIMER_Start(); 	// Start Timer

  ADC_Start();		// Start ADC with DMA

  Set_LNA_Gain();	// Set LNA GAIN

  g_raw_data_index = 0;

  g_desired_fft_bin = (uint32_t)( input.Frequency / g_fft_bin_size ); // Divide and discarding the fraction
  g_lowest_considered_fft_bin = (uint32_t)( input.MinFrequency / g_fft_bin_size ); // Divide and discarding the fraction
  g_highest_considered_fft_bin = (uint32_t)( input.MaxFrequency / g_fft_bin_size ); // Divide and discarding the fraction
  if( g_lowest_considered_fft_bin > g_desired_fft_bin )
	  g_lowest_considered_fft_bin = g_desired_fft_bin;
  if( (g_highest_considered_fft_bin <= g_desired_fft_bin) && (g_desired_fft_bin < FFT_SIZE - 1) )
	  g_lowest_considered_fft_bin = g_desired_fft_bin + 1;

  HAL_UART_Receive_IT(&huart3,uart_rx_buffer,UART_RX_BUFFER_SIZE);

  HAL_Delay(10);

  /* USER CODE END 2 */

  /* Infinite loop */
  /* USER CODE BEGIN WHILE */
  LED_BLUE_OFF();
  LED_RED_OFF();

  output.seq_num = 0;
  g_uart_ready = 1;
  pulse_time_stamp = 0;

  while (1)
  {

  /* USER CODE END WHILE */

  /* USER CODE BEGIN 3 */

	if(abs_threshold_CFAR() == 1)
	{
		temp_time_stamp = HAL_GetTick();
		if(temp_time_stamp - pulse_time_stamp > input.DelayObserve)
		{
			output.time_between_pulse = temp_time_stamp - pulse_time_stamp;
			pulse_time_stamp = temp_time_stamp;
			process_time_stamp = temp_time_stamp;
			Get_Pulse_Frame();
			Bandpass_filter();
			LED_RED_ON();

			frame_bin = Get_Max_FFT_Bin( g_adc_1_f );
			if( g_desired_fft_bin == frame_bin )
			{
				LED_BLUE_ON();	// Turn on blue LED only when frequency matched
			}

			output.Detect_Frequency = Bin2Freq( frame_bin );
			output.process_time = HAL_GetTick() - process_time_stamp;
			UART_Sent();

			LED_RED_OFF();
		}
	}

	g_raw_data_index = g_raw_data_index + 2;

	if(g_raw_data_index > RAW_DATA_BUFFER_SIZE - 2)
	{
		g_raw_data_index = 0;
	}

  }
  /* USER CODE END 3 */

}

void SystemClock_Config(void)
{

  RCC_OscInitTypeDef RCC_OscInitStruct;
  RCC_ClkInitTypeDef RCC_ClkInitStruct;
  RCC_PeriphCLKInitTypeDef PeriphClkInitStruct;

    /**Supply configuration update enable
    */
  MODIFY_REG(PWR->CR3, PWR_CR3_SCUEN, 0);

    /**Configure the main internal regulator output voltage
    */
  __HAL_PWR_VOLTAGESCALING_CONFIG(PWR_REGULATOR_VOLTAGE_SCALE1);

  while ((PWR->D3CR & (PWR_D3CR_VOSRDY)) != PWR_D3CR_VOSRDY)
  {

  }
    /**Initializes the CPU, AHB and APB busses clocks
    */
  RCC_OscInitStruct.OscillatorType = RCC_OSCILLATORTYPE_HSI48|RCC_OSCILLATORTYPE_HSI
                              |RCC_OSCILLATORTYPE_HSE;
  RCC_OscInitStruct.HSEState = RCC_HSE_BYPASS;
  RCC_OscInitStruct.HSIState = RCC_HSI_DIV1;
  RCC_OscInitStruct.HSICalibrationValue = 16;
  RCC_OscInitStruct.HSI48State = RCC_HSI48_ON;
  RCC_OscInitStruct.PLL.PLLState = RCC_PLL_ON;
  RCC_OscInitStruct.PLL.PLLSource = RCC_PLLSOURCE_HSE;
  RCC_OscInitStruct.PLL.PLLM = 1;
  RCC_OscInitStruct.PLL.PLLN = 100;
  RCC_OscInitStruct.PLL.PLLP = 2;
  RCC_OscInitStruct.PLL.PLLQ = 16;
  RCC_OscInitStruct.PLL.PLLR = 2;
  RCC_OscInitStruct.PLL.PLLRGE = RCC_PLL1VCIRANGE_3;
  RCC_OscInitStruct.PLL.PLLVCOSEL = RCC_PLL1VCOWIDE;
  RCC_OscInitStruct.PLL.PLLFRACN = 0;
  if (HAL_RCC_OscConfig(&RCC_OscInitStruct) != HAL_OK)
  {
    _Error_Handler(__FILE__, __LINE__);
  }

    /**Initializes the CPU, AHB and APB busses clocks
    */
  RCC_ClkInitStruct.ClockType = RCC_CLOCKTYPE_HCLK|RCC_CLOCKTYPE_SYSCLK
                              |RCC_CLOCKTYPE_PCLK1|RCC_CLOCKTYPE_PCLK2
                              |RCC_CLOCKTYPE_D3PCLK1|RCC_CLOCKTYPE_D1PCLK1;
  RCC_ClkInitStruct.SYSCLKSource = RCC_SYSCLKSOURCE_PLLCLK;
  RCC_ClkInitStruct.SYSCLKDivider = RCC_SYSCLK_DIV1;
  RCC_ClkInitStruct.AHBCLKDivider = RCC_HCLK_DIV2;
  RCC_ClkInitStruct.APB3CLKDivider = RCC_APB3_DIV2;
  RCC_ClkInitStruct.APB1CLKDivider = RCC_APB1_DIV2;
  RCC_ClkInitStruct.APB2CLKDivider = RCC_APB2_DIV2;
  RCC_ClkInitStruct.APB4CLKDivider = RCC_APB4_DIV2;

  if (HAL_RCC_ClockConfig(&RCC_ClkInitStruct, FLASH_LATENCY_2) != HAL_OK)
  {
    _Error_Handler(__FILE__, __LINE__);
  }

  PeriphClkInitStruct.PeriphClockSelection = RCC_PERIPHCLK_USART3|RCC_PERIPHCLK_ADC
                              |RCC_PERIPHCLK_I2C1|RCC_PERIPHCLK_USB
                              |RCC_PERIPHCLK_CKPER;
  PeriphClkInitStruct.CkperClockSelection = RCC_CLKPSOURCE_HSI;
  PeriphClkInitStruct.Usart234578ClockSelection = RCC_USART234578CLKSOURCE_D2PCLK1;
  PeriphClkInitStruct.I2c123ClockSelection = RCC_I2C123CLKSOURCE_D2PCLK1;
  PeriphClkInitStruct.UsbClockSelection = RCC_USBCLKSOURCE_HSI48;
  PeriphClkInitStruct.AdcClockSelection = RCC_ADCCLKSOURCE_CLKP;
  if (HAL_RCCEx_PeriphCLKConfig(&PeriphClkInitStruct) != HAL_OK)
  {
    _Error_Handler(__FILE__, __LINE__);
  }

    /**Configure the Systick interrupt time
    */
  HAL_SYSTICK_Config(SystemCoreClock/1000);

    /**Configure the Systick
    */
  HAL_SYSTICK_CLKSourceConfig(SYSTICK_CLKSOURCE_HCLK);

  /* SysTick_IRQn interrupt configuration */
  HAL_NVIC_SetPriority(SysTick_IRQn, 0, 0);
}

/* USER CODE BEGIN 4 */

void HAL_UART_TxCpltCallback(UART_HandleTypeDef *huart)
{
	if(huart->Instance == USART3){

		  g_uart_ready = 1;
	}
}

void HAL_UART_RxCpltCallback(UART_HandleTypeDef *huart)
{
	if(huart->Instance == USART3){
		HAL_GPIO_WritePin(GPIOB,GPIO_PIN_14,GPIO_PIN_SET);
		if(uart_rx_buffer[0] == 61 && uart_rx_buffer[1] == 61 &&
				uart_rx_buffer[2] == 61 && ( uart_rx_buffer[3] == 61  ||  uart_rx_buffer[3] == 63 ))
		{
			uint322bytes u322b;
			float2bytes f2b;

			// Reset code
			if( uart_rx_buffer[3] == 63 )
				NVIC_SystemReset();

			u322b.b[0] = uart_rx_buffer[4];
			u322b.b[1] = uart_rx_buffer[5];
			u322b.b[2] = uart_rx_buffer[6];
			u322b.b[3] = uart_rx_buffer[7];
			input.Frequency = u322b.u32t;

			u322b.b[0] = uart_rx_buffer[8];
			u322b.b[1] = uart_rx_buffer[9];
			u322b.b[2] = uart_rx_buffer[10];
			u322b.b[3] = uart_rx_buffer[11];
			input.MinFrequency = u322b.u32t;

			u322b.b[0] = uart_rx_buffer[12];
			u322b.b[1] = uart_rx_buffer[13];
			u322b.b[2] = uart_rx_buffer[14];
			u322b.b[3] = uart_rx_buffer[15];
			input.MaxFrequency = u322b.u32t;

			f2b.b[0] = uart_rx_buffer[16];
			f2b.b[1] = uart_rx_buffer[17];
			f2b.b[2] = uart_rx_buffer[18];
			f2b.b[3] = uart_rx_buffer[19];
			input.FrontThreshold = f2b.f;

			f2b.b[0] = uart_rx_buffer[20];
			f2b.b[1] = uart_rx_buffer[21];
			f2b.b[2] = uart_rx_buffer[22];
			f2b.b[3] = uart_rx_buffer[23];
			input.PowerThreshold = (uint32_t)(f2b.f * 32767);

			u322b.b[0] = uart_rx_buffer[24];
			u322b.b[1] = uart_rx_buffer[25];
			u322b.b[2] = uart_rx_buffer[26];
			u322b.b[3] = uart_rx_buffer[27];
			input.DelayObserve = u322b.u32t;

			f2b.b[0] = uart_rx_buffer[28];
			f2b.b[1] = uart_rx_buffer[29];
			f2b.b[2] = uart_rx_buffer[30];
			f2b.b[3] = uart_rx_buffer[31];
			input.LNA_Gain = f2b.f;

			Set_LNA_Gain();
			g_desired_fft_bin = (uint32_t)( input.Frequency / g_fft_bin_size ); // Divide and discarding the fraction
			g_lowest_considered_fft_bin = (uint32_t)( input.MinFrequency / g_fft_bin_size ); // Divide and discarding the fraction
			g_highest_considered_fft_bin = (uint32_t)( input.MaxFrequency / g_fft_bin_size ); // Divide and discarding the fraction
			if( g_lowest_considered_fft_bin > g_desired_fft_bin )
				g_lowest_considered_fft_bin = g_desired_fft_bin;
			if( (g_highest_considered_fft_bin <= g_desired_fft_bin) && (g_desired_fft_bin < FFT_SIZE - 1) )
				g_lowest_considered_fft_bin = g_desired_fft_bin + 1;
			gen_fir_bandpass();
		}
		HAL_GPIO_WritePin(GPIOB,GPIO_PIN_14,GPIO_PIN_RESET);
		HAL_UART_Receive_IT(&huart3,uart_rx_buffer,UART_RX_BUFFER_SIZE);
	}

}

/* USER CODE END 4 */

void _Error_Handler(char *file, int line)
{
  while(1)
  {
  }
}

/************************ (C) COPYRIGHT STMicroelectronics *****END OF FILE****/
